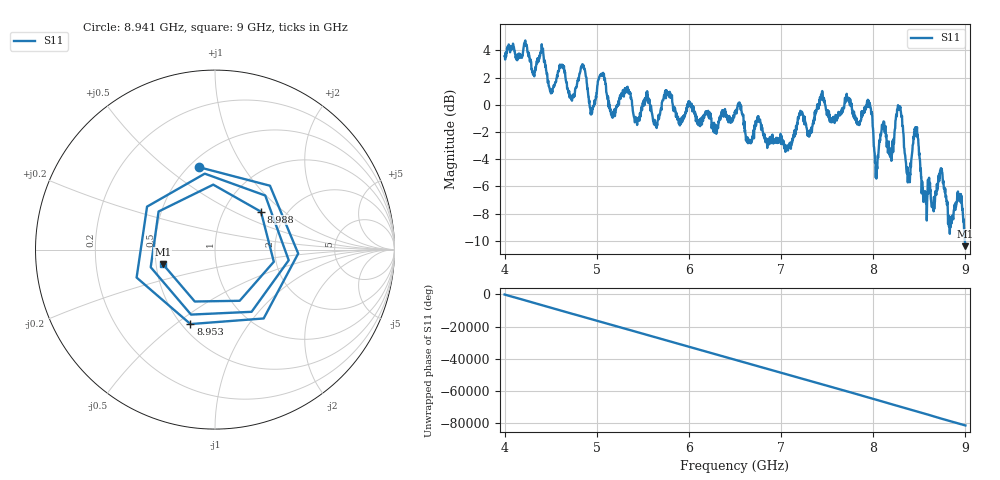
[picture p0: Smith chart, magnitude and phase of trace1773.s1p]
! Created with skrf 1.8.0 (http://scikit-rf.org).
# Hz S RI R 50.0
!freq ReS11 ImS11
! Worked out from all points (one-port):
!   1601 points, 4 GHz to 9 GHz, reference 50 ohm
!   lowest |S11| = -10.4 dB at 9 GHz (marker M1), VSWR 1.87, Z = 27.1 - j4.78 ohm
!   |S11| at or under -10 dB: 8.994185 GHz to end of sweep
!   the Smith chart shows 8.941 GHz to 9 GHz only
!   S11 on the Smith chart (normalised r, x): 8.941 GHz: 0.56, +0.66; 8.953 GHz: 0.55, -0.57; 8.988 GHz: 1.49, +0.71; 9 GHz: 0.54, -0.10
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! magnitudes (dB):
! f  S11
! 4 GHz  3.6
! 4.403 GHz  4.5
! 4.503 GHz  0.8
! 4.625 GHz  3.0
! 4.728 GHz  0.6
! 4.853 GHz  2.9
! 4.947 GHz  -0.6
! 5.053 GHz  2.2
! 5.162 GHz  -0.8
! 5.25 GHz  0.5
! 5.875 GHz  -1.1
! 6.5 GHz  -0.6
! 7.125 GHz  -2.6
! 7.441 GHz  0.6
! 7.75 GHz  0.4
! 7.959 GHz  -0.2
! 8.034 GHz  -5.4
! 8.197 GHz  -4.1
! 8.288 GHz  -0.1
! 8.375 GHz  -5.7
! 8.462 GHz  -1.9
! 8.559 GHz  -6.8
! 8.728 GHz  -4.8
! 8.834 GHz  -8.4
! 8.941 GHz  -6.6
! 8.953 GHz  -7.2
! 8.988 GHz  -9.6
! 9 GHz  -10.4
